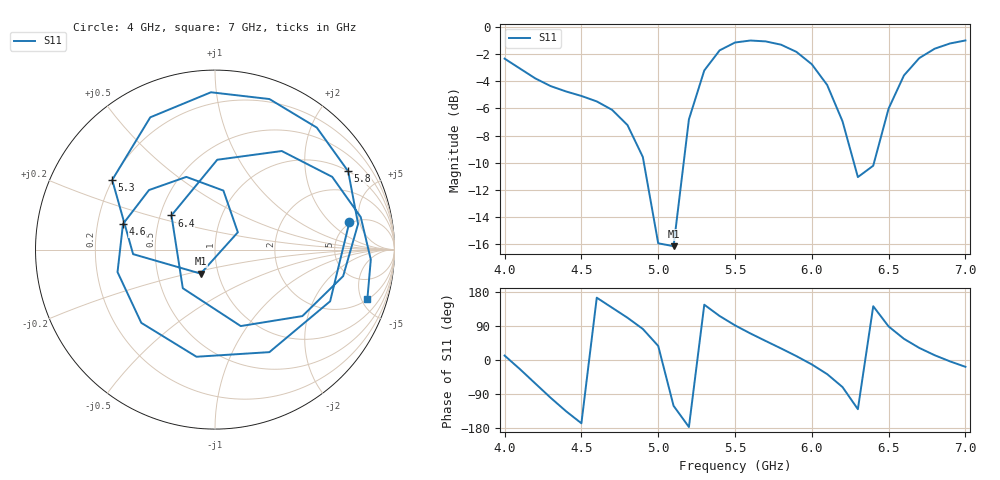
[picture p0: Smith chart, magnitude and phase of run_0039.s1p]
! Touchstone file exported from HFSS 2024.2.0
!  File:  C:/Users/wsak9/Desktop/Sim Fast/Widenad Patch/WP_AI_V1_sweep.aedt
!  Generated:  04:25:30 PM Oct 13, 2026
!  Design:  A1_model
!  Project:  WP_AI_V1_sweep
!  Setup:  Setup1
!  Solution:  Sweep
! Variables:
!  Air_gap = 4.81mm
!  Curve_Amp1 = 3.28
!  Curve_len1 = 1
!  Curve_pos = 12.055mm
!  Extra = 7.17mm
!  H_sub = 0.79mm
!  L_Patch = 20.11mm
!  L_Patch1 = 18.95mm
!  Sx = 1.43mm
!  Sy = 4.99mm
!  WS = 1.47mm
!  W_Patch = 11.29mm
!  W_Patch1 = 11.78mm
!Data is not renormalized
# GHz S MA
! Terminal data exported
! Port[1] = 1
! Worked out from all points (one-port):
!   31 points, 4 GHz to 7 GHz, reference per port
!   lowest |S11| = -16.1 dB at 5.1 GHz (marker M1), VSWR 1.37
!   |S11| at or under -10 dB: 4.907 GHz to 5.166 GHz (259.1 MHz wide, 5.14 % of centre); 6.274 GHz to 6.405 GHz (130.8 MHz wide, 2.06 % of centre)
!   S11 on the Smith chart (normalised r, x): 4 GHz: 4.79, +3.55; 4.6 GHz: 0.31, +0.12; 5.3 GHz: 0.20, +0.30; 5.8 GHz: 1.01, +3.39; 6.4 GHz: 0.57, +0.24; 7 GHz: 2.07, -5.58
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4  0.7647 11.6
4.1  0.7031 -24.2
4.2  0.6467 -62.1
4.3  0.6058 -99.8
4.4  0.579 -135.2
4.5  0.5573 -167.0
4.6  0.5321 164.4
4.8  0.4354 111.5
4.9  0.332 81.9
5  0.1597 37.2
5.1  0.1559 -120.8
5.2  0.457 -176.8
5.3  0.6918 145.9
5.4  0.8205 116.1
5.5  0.8769 91.5
5.6  0.8919 70.1
5.8  0.8608 30.5
5.9  0.81 10.2
6  0.7292 -11.7
6.1  0.6118 -37.3
6.2  0.4495 -71.4
6.3  0.2801 -129.8
6.4  0.3085 141.9
6.5  0.5008 88.6
6.6  0.6634 55.9
6.7  0.7685 31.8
6.8  0.832 12.6
7  0.8923 -18.0
